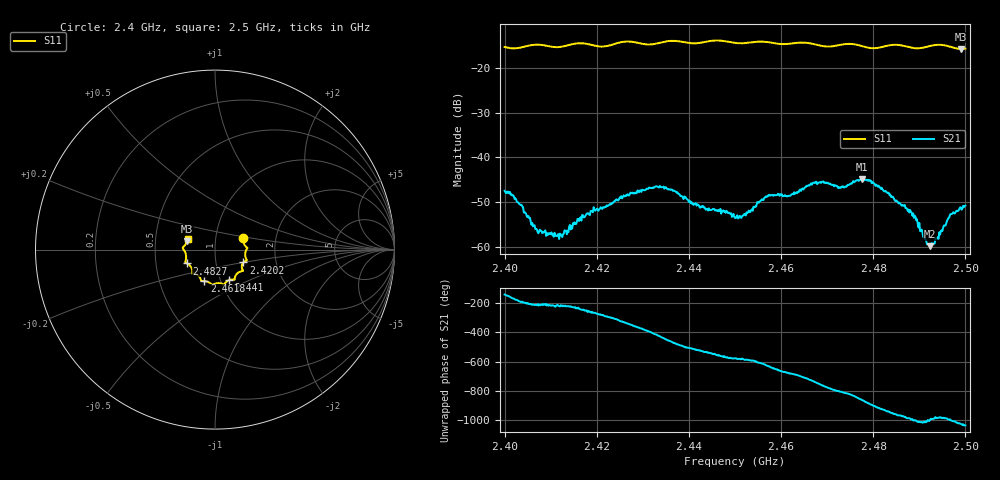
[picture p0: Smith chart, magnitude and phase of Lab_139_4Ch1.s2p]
# Hz S RI R 50
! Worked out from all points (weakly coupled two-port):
!   601 points, 2.4 GHz to 2.5 GHz, reference 50 ohm
!   highest |S21| = -44.94 dB at 2.4775 GHz (marker M1); lowest = -59.8 dB at 2.4923 GHz (marker M2)
!   lowest |S11| = -15.8 dB at 2.499 GHz (marker M3), VSWR 1.39, Z = 36.4 + j3.48 ohm
!   |S11| at or under -10 dB: start of sweep to end of sweep
!   S12 and S22 are empty: the file has one direction only
!   S11 on the Smith chart (normalised r, x): 2.4 GHz: 1.36, +0.18; 2.4202 GHz: 1.36, -0.20; 2.441 GHz: 1.10, -0.39; 2.4618 GHz: 0.84, -0.30; 2.4827 GHz: 0.72, -0.12; 2.5 GHz: 0.73, +0.09
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2.4e9  0.1583 0.0626  -0.00339 -0.00251  0 0  0 0
2.402e9  0.1596 0.0389  -0.00361 -0.000581  0 0  0 0
2.407667e9  0.1803 0.00787  -0.00125 0.000931  0 0  0 0
2.412333e9  0.1686 -0.0319  -0.00102 0.000863  0 0  0 0
2.416667e9  0.1775 -0.0606  -0.00078 0.0018  0 0  0 0
2.420167e9  0.1584 -0.0714  0.000254 0.00263  0 0  0 0
2.433333e9  0.1118 -0.1509  0.00205 -0.00417  0 0  0 0
2.441e9  0.0786 -0.1698  -0.00263 -0.00131  0 0  0 0
2.45e9  0.0283 -0.1873  -0.00167 0.00128  0 0  0 0
2.451833e9  0.00943 -0.1875  -0.00164 0.00154  0 0  0 0
2.457167e9  -0.0206 -0.1919  -1.94e-05 0.00376  0 0  0 0
2.461833e9  -0.0591 -0.1756  0.00291 0.00233  0 0  0 0
2.466667e9  -0.0785 -0.1682  0.00488 -0.000828  0 0  0 0
2.473167e9  -0.1213 -0.1347  0.000314 -0.00465  0 0  0 0
2.4775e9  -0.1265 -0.1202  -0.00435 -0.00362  0 0  0 0
2.482667e9  -0.1561 -0.0773  -0.00354 0.00229  0 0  0 0
2.483333e9  -0.1604 -0.0754  -0.00306 0.00263  0 0  0 0
2.4885e9  -0.1607 -0.0433  5.05e-05 0.00223  0 0  0 0
2.492333e9  -0.175 0.000486  0.000104 0.00101  0 0  0 0
2.496833e9  -0.1691 0.0222  0.000378 0.0023  0 0  0 0
2.499e9  -0.1553 0.0465  0.00153 0.0023  0 0  0 0
2.5e9  -0.1521 0.0607  0.00201 0.00207  0 0  0 0
